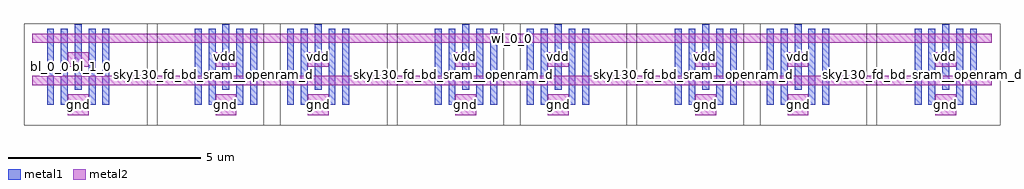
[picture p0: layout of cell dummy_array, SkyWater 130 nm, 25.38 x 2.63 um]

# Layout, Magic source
magic
tech sky130A
magscale 1 2
<< metal1 >>
rect 78 0 114 395
rect 150 0 186 395
rect 222 79 258 420
rect 294 0 330 395
rect 366 0 402 395
rect 846 0 882 395
rect 918 0 954 395
rect 990 79 1026 420
rect 1062 0 1098 395
rect 1134 0 1170 395
rect 1326 0 1362 395
rect 1398 0 1434 395
rect 1470 79 1506 420
rect 1542 0 1578 395
rect 1614 0 1650 395
rect 2094 0 2130 395
rect 2166 0 2202 395
rect 2238 79 2274 420
rect 2310 0 2346 395
rect 2382 0 2418 395
rect 2574 0 2610 395
rect 2646 0 2682 395
rect 2718 79 2754 420
rect 2790 0 2826 395
rect 2862 0 2898 395
rect 3342 0 3378 395
rect 3414 0 3450 395
rect 3486 79 3522 420
rect 3558 0 3594 395
rect 3630 0 3666 395
rect 3822 0 3858 395
rect 3894 0 3930 395
rect 3966 79 4002 420
rect 4038 0 4074 395
rect 4110 0 4146 395
rect 4590 0 4626 395
rect 4662 0 4698 395
rect 4734 79 4770 420
rect 4806 0 4842 395
rect 4878 0 4914 395
<< metal2 >>
rect 0 323 4992 371
rect 186 199 294 275
rect 954 199 1062 275
rect 1434 199 1542 275
rect 2202 199 2310 275
rect 2682 199 2790 275
rect 3450 199 3558 275
rect 3930 199 4038 275
rect 4698 199 4806 275
rect 0 103 4992 151
rect 186 -55 294 55
rect 954 -55 1062 55
rect 1434 -55 1542 55
rect 2202 -55 2310 55
rect 2682 -55 2790 55
rect 3450 -55 3558 55
rect 3930 -55 4038 55
rect 4698 -55 4806 55
use sky130_fd_bd_sram__openram_dp_cell_dummy  sky130_fd_bd_sram__openram_dp_cell_dummy_0
transform -1 0 4992 0 1 0
box -42 -105 650 421
use sky130_fd_bd_sram__openram_dp_cell_dummy  sky130_fd_bd_sram__openram_dp_cell_dummy_1
transform 1 0 3744 0 1 0
box -42 -105 650 421
use sky130_fd_bd_sram__openram_dp_cell_dummy  sky130_fd_bd_sram__openram_dp_cell_dummy_2
transform -1 0 3744 0 1 0
box -42 -105 650 421
use sky130_fd_bd_sram__openram_dp_cell_dummy  sky130_fd_bd_sram__openram_dp_cell_dummy_3
transform 1 0 2496 0 1 0
box -42 -105 650 421
use sky130_fd_bd_sram__openram_dp_cell_dummy  sky130_fd_bd_sram__openram_dp_cell_dummy_4
transform -1 0 2496 0 1 0
box -42 -105 650 421
use sky130_fd_bd_sram__openram_dp_cell_dummy  sky130_fd_bd_sram__openram_dp_cell_dummy_5
transform 1 0 1248 0 1 0
box -42 -105 650 421
use sky130_fd_bd_sram__openram_dp_cell_dummy  sky130_fd_bd_sram__openram_dp_cell_dummy_6
transform -1 0 1248 0 1 0
box -42 -105 650 421
use sky130_fd_bd_sram__openram_dp_cell_dummy  sky130_fd_bd_sram__openram_dp_cell_dummy_7
transform 1 0 0 0 1 0
box -42 -105 650 421
<< labels >>
rlabel metal1 s 78 0 114 395 4 bl_0_0
port 1 nsew
rlabel metal1 s 150 0 186 395 4 br_0_0
port 2 nsew
rlabel metal1 s 294 0 330 395 4 bl_1_0
port 3 nsew
rlabel metal1 s 366 0 402 395 4 br_1_0
port 4 nsew
rlabel metal1 s 1134 0 1170 395 4 bl_0_1
port 5 nsew
rlabel metal1 s 1062 0 1098 395 4 br_0_1
port 6 nsew
rlabel metal1 s 918 0 954 395 4 bl_1_1
port 7 nsew
rlabel metal1 s 846 0 882 395 4 br_1_1
port 8 nsew
rlabel metal1 s 1326 0 1362 395 4 bl_0_2
port 9 nsew
rlabel metal1 s 1398 0 1434 395 4 br_0_2
port 10 nsew
rlabel metal1 s 1542 0 1578 395 4 bl_1_2
port 11 nsew
rlabel metal1 s 1614 0 1650 395 4 br_1_2
port 12 nsew
rlabel metal1 s 2382 0 2418 395 4 bl_0_3
port 13 nsew
rlabel metal1 s 2310 0 2346 395 4 br_0_3
port 14 nsew
rlabel metal1 s 2166 0 2202 395 4 bl_1_3
port 15 nsew
rlabel metal1 s 2094 0 2130 395 4 br_1_3
port 16 nsew
rlabel metal1 s 2574 0 2610 395 4 bl_0_4
port 17 nsew
rlabel metal1 s 2646 0 2682 395 4 br_0_4
port 18 nsew
rlabel metal1 s 2790 0 2826 395 4 bl_1_4
port 19 nsew
rlabel metal1 s 2862 0 2898 395 4 br_1_4
port 20 nsew
rlabel metal1 s 3630 0 3666 395 4 bl_0_5
port 21 nsew
rlabel metal1 s 3558 0 3594 395 4 br_0_5
port 22 nsew
rlabel metal1 s 3414 0 3450 395 4 bl_1_5
port 23 nsew
rlabel metal1 s 3342 0 3378 395 4 br_1_5
port 24 nsew
rlabel metal1 s 3822 0 3858 395 4 bl_0_6
port 25 nsew
rlabel metal1 s 3894 0 3930 395 4 br_0_6
port 26 nsew
rlabel metal1 s 4038 0 4074 395 4 bl_1_6
port 27 nsew
rlabel metal1 s 4110 0 4146 395 4 br_1_6
port 28 nsew
rlabel metal1 s 4878 0 4914 395 4 bl_0_7
port 29 nsew
rlabel metal1 s 4806 0 4842 395 4 br_0_7
port 30 nsew
rlabel metal1 s 4662 0 4698 395 4 bl_1_7
port 31 nsew
rlabel metal1 s 4590 0 4626 395 4 br_1_7
port 32 nsew
rlabel metal2 s 0 323 4992 371 4 wl_0_0
port 33 nsew
rlabel metal2 s 0 103 4992 151 4 wl_1_0
port 34 nsew
rlabel metal1 s 222 79 258 420 4 vdd
port 35 nsew
rlabel metal1 s 3486 79 3522 420 4 vdd
port 35 nsew
rlabel metal1 s 3966 79 4002 420 4 vdd
port 35 nsew
rlabel metal1 s 990 79 1026 420 4 vdd
port 35 nsew
rlabel metal1 s 2238 79 2274 420 4 vdd
port 35 nsew
rlabel metal1 s 2718 79 2754 420 4 vdd
port 35 nsew
rlabel metal1 s 4734 79 4770 420 4 vdd
port 35 nsew
rlabel metal1 s 1470 79 1506 420 4 vdd
port 35 nsew
rlabel metal2 s 2682 -55 2790 55 4 gnd
port 36 nsew
rlabel metal2 s 2202 199 2310 275 4 gnd
port 36 nsew
rlabel metal2 s 3930 199 4038 275 4 gnd
port 36 nsew
rlabel metal2 s 3450 -55 3558 55 4 gnd
port 36 nsew
rlabel metal2 s 1434 -55 1542 55 4 gnd
port 36 nsew
rlabel metal2 s 954 -55 1062 55 4 gnd
port 36 nsew
rlabel metal2 s 3930 -55 4038 55 4 gnd
port 36 nsew
rlabel metal2 s 1434 199 1542 275 4 gnd
port 36 nsew
rlabel metal2 s 186 -55 294 55 4 gnd
port 36 nsew
rlabel metal2 s 186 199 294 275 4 gnd
port 36 nsew
rlabel metal2 s 954 199 1062 275 4 gnd
port 36 nsew
rlabel metal2 s 2202 -55 2310 55 4 gnd
port 36 nsew
rlabel metal2 s 2682 199 2790 275 4 gnd
port 36 nsew
rlabel metal2 s 3450 199 3558 275 4 gnd
port 36 nsew
rlabel metal2 s 4698 199 4806 275 4 gnd
port 36 nsew
rlabel metal2 s 4698 -55 4806 55 4 gnd
port 36 nsew
<< properties >>
string FIXED_BBOX 0 0 4992 395
string GDS_FILE sky130_sram_0kbytes_1rw1r_8x16_2.gds
string GDS_END 712962
string GDS_START 702062
<< end >>
